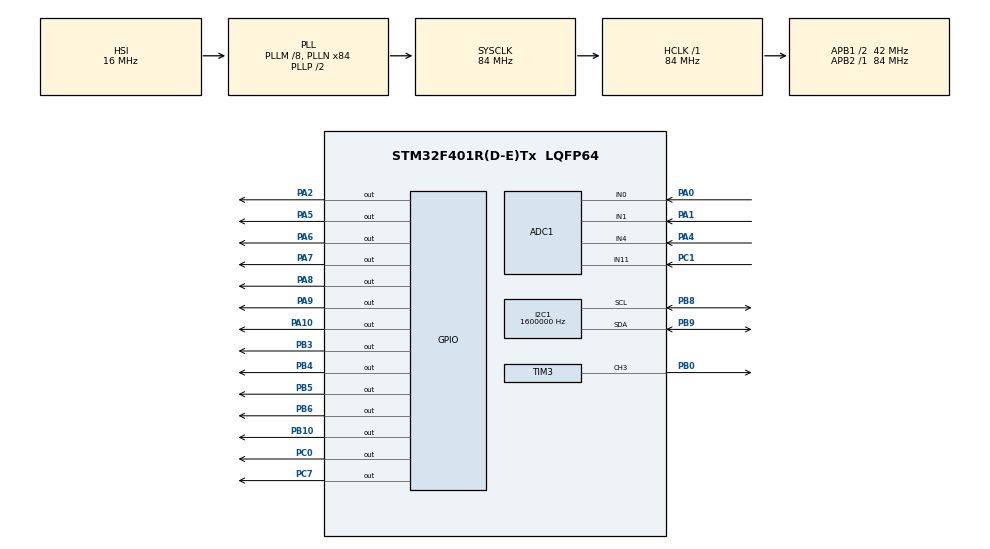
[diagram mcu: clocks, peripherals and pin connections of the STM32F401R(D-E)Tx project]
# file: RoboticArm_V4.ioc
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ADC1.Channel-1\#ChannelRegularConversion=ADC_CHANNEL_1
ADC1.Channel-2\#ChannelRegularConversion=ADC_CHANNEL_4
ADC1.Channel-4\#ChannelRegularConversion=ADC_CHANNEL_11
ADC1.ContinuousConvMode=ENABLE
ADC1.DMAContinuousRequests=ENABLE
ADC1.NbrOfConversion=4
ADC1.NbrOfConversionFlag=1
ADC1.Rank-1\#ChannelRegularConversion=2
ADC1.Rank-2\#ChannelRegularConversion=3
ADC1.Rank-4\#ChannelRegularConversion=4
ADC1.SamplingTime-0\#ChannelRegularConversion=ADC_SAMPLETIME_112CYCLES
ADC1.SamplingTime-1\#ChannelRegularConversion=ADC_SAMPLETIME_112CYCLES
ADC1.SamplingTime-2\#ChannelRegularConversion=ADC_SAMPLETIME_112CYCLES
ADC1.SamplingTime-4\#ChannelRegularConversion=ADC_SAMPLETIME_480CYCLES
ADC1.master=1
Dma.ADC1.0.Direction=DMA_PERIPH_TO_MEMORY
Dma.ADC1.0.FIFOMode=DMA_FIFOMODE_DISABLE
Dma.ADC1.0.Instance=DMA2_Stream0
Dma.ADC1.0.MemDataAlignment=DMA_MDATAALIGN_HALFWORD
Dma.ADC1.0.MemInc=DMA_MINC_ENABLE
Dma.ADC1.0.Mode=DMA_CIRCULAR
Dma.ADC1.0.PeriphDataAlignment=DMA_PDATAALIGN_HALFWORD
Dma.ADC1.0.PeriphInc=DMA_PINC_DISABLE
Dma.ADC1.0.Priority=DMA_PRIORITY_LOW
Dma.Request0=ADC1
I2C1.ClockSpeed=1600000
I2C1.DutyCycle=I2C_DUTYCYCLE_16_9
I2C1.I2C_Mode=I2C_Fast
Mcu.Family=STM32F4
Mcu.Name=STM32F401R(D-E)Tx
Mcu.Package=LQFP64
NVIC.ADC_IRQn=true\:1\:0\:true\:false\:true\:true\:true\:true
NVIC.DMA2_Stream0_IRQn=true\:0\:0\:false\:false\:true\:false\:true\:true
NVIC.PriorityGroup=NVIC_PRIORITYGROUP_4
PA0-WKUP.Signal=ADCx_IN0
PA1.Signal=ADCx_IN1
PA10.Signal=GPIO_Output
PA13.Mode=Serial_Wire
PA13.Signal=SYS_JTMS-SWDIO
PA14.Mode=Serial_Wire
PA14.Signal=SYS_JTCK-SWCLK
PA2.Signal=GPIO_Output
PA4.Signal=ADCx_IN4
PA5.Signal=GPIO_Output
PA6.Signal=GPIO_Output
PA7.Signal=GPIO_Output
PA8.Signal=GPIO_Output
PA9.Signal=GPIO_Output
PB0.Signal=S_TIM3_CH3
PB10.Signal=GPIO_Output
PB3.Signal=GPIO_Output
PB4.Signal=GPIO_Output
PB5.Signal=GPIO_Output
PB6.Signal=GPIO_Output
PB8.Mode=I2C
PB8.Signal=I2C1_SCL
PB9.Mode=I2C
PB9.Signal=I2C1_SDA
PC0.GPIO_ModeDefaultOutputPP=GPIO_MODE_OUTPUT_OD
PC0.GPIO_PuPd=GPIO_NOPULL
PC0.Signal=GPIO_Output
PC1.Signal=ADCx_IN11
PC7.Signal=GPIO_Output
ProjectManager.HeapSize=0x200
ProjectManager.StackSize=0x400
ProjectManager.TargetToolchain=STM32CubeIDE
RCC.48MHZClocksFreq_Value=42000000
RCC.AHBFreq_Value=84000000
RCC.APB1CLKDivider=RCC_HCLK_DIV2
RCC.APB1Freq_Value=42000000
RCC.APB1TimFreq_Value=84000000
RCC.APB2Freq_Value=84000000
RCC.APB2TimFreq_Value=84000000
RCC.CortexFreq_Value=84000000
RCC.HCLKFreq_Value=84000000
RCC.HSE_VALUE=25000000
RCC.HSI_VALUE=16000000
RCC.LSE_VALUE=32768
RCC.PLLM=8
RCC.PLLN=84
RCC.SYSCLKFreq_VALUE=84000000
RCC.SYSCLKSource=RCC_SYSCLKSOURCE_PLLCLK
RCC.VCOOutputFreq_Value=168000000
SH.ADCx_IN0.0=ADC1_IN0,IN0
SH.ADCx_IN1.0=ADC1_IN1,IN1
SH.ADCx_IN11.0=ADC1_IN11,IN11
SH.ADCx_IN4.0=ADC1_IN4,IN4
SH.S_TIM3_CH3.0=TIM3_CH3,PWM Generation3 CH3
TIM1.Period=4294967295
TIM1.Prescaler=83
TIM2.Prescaler=83
TIM3.AutoReloadPreload=TIM_AUTORELOAD_PRELOAD_ENABLE
TIM3.Channel-PWM\ Generation3\ CH3=TIM_CHANNEL_3
TIM3.Period=4000000 / 500 -1
TIM3.Prescaler=21-1
TIM3.Pulse-PWM\ Generation3\ CH3=4000000 / 500 / 2 -1
VP_TIM1_VS_ClockSourceINT.Mode=Internal
VP_TIM2_VS_ClockSourceINT.Mode=Internal
VP_TIM3_VS_ClockSourceINT.Mode=Internal
board=custom

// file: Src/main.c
/* USER CODE BEGIN Header */
/**
  ******************************************************************************
  * @file           : main.c
  * @brief          : Main program body
  ******************************************************************************
  * @attention
  *
  * Copyright (c) 2023 STMicroelectronics.
  * All rights reserved.
  *
  * This software is licensed under terms that can be found in the LICENSE file
  * in the root directory of this software component.
  * If no LICENSE file comes with this software, it is provided AS-IS.
  *
  ******************************************************************************
  */
/* USER CODE END Header */
#include "main.h"

ADC_HandleTypeDef hadc1;
DMA_HandleTypeDef hdma_adc1;

I2C_HandleTypeDef hi2c1;

TIM_HandleTypeDef htim1;
TIM_HandleTypeDef htim2;
TIM_HandleTypeDef htim3;

/* USER CODE BEGIN PV */
double joystickX = 0;
double joystickY = 0;
int power_state = 0;
uint8_t joystickBtn = 0;
uint16_t rawValues[4];
/* USER CODE END PV */

void SystemClock_Config(void);
static void MX_GPIO_Init(void);
static void MX_DMA_Init(void);
static void MX_TIM1_Init(void);
static void MX_I2C1_Init(void);
static void MX_ADC1_Init(void);
static void MX_TIM3_Init(void);
static void MX_TIM2_Init(void);

/* USER CODE BEGIN 0 */

#include "utils.h"
#include "beeper.h"
#include "stepper.h"

#include "actual_main.h"

#define abs(x) (x > 0 ? x : -x)

uint8_t convCompleted = 0;

void HAL_ADC_ConvCpltCallback(ADC_HandleTypeDef *hadc)
{
    convCompleted = 1;
}

/* USER CODE END 0 */

int main(void)
{

  /* MCU Configuration--------------------------------------------------------*/

  /* Reset of all peripherals, Initializes the Flash interface and the Systick. */
  HAL_Init();

  /* Configure the system clock */
  SystemClock_Config();

  /* Initialize all configured peripherals */
  MX_GPIO_Init();
  MX_DMA_Init();
  MX_TIM1_Init();
  MX_I2C1_Init();
  MX_ADC1_Init();
  MX_TIM3_Init();
  MX_TIM2_Init();
  /* USER CODE BEGIN 2 */
//    HAL_ADCEx(&hadc1, ADC_SINGLE_ENDED);

    HAL_ADC_Start_DMA(&hadc1, (uint32_t *) rawValues, 4);
  /* USER CODE END 2 */

  /* Infinite loop */
  /* USER CODE BEGIN WHILE */

    HAL_TIM_Base_Start(&htim2);
    beeperInit(&htim3);
    onSetup();
    long lastTick = 0;
    long lastPowerCheckTick = 0;

    while (1) {
    /* USER CODE END WHILE */

    /* USER CODE BEGIN 3 */

        long now = (long) HAL_GetTick();
        int dt = (int) (now - lastTick);
        lastTick = now;

        tickClock();
        if (convCompleted) {
            for (int i = 0; i < hadc1.Init.NbrOfConversion; ++i) {
                long current_power_state = rawValues[3] > 3700;
                if (!current_power_state) {
                    power_state = 0;
                    lastPowerCheckTick = now;
                }

                if (now - lastPowerCheckTick > 500) {
                    if (current_power_state != power_state) {
                        power_state = current_power_state;
                        lastPowerCheckTick = now;
                    }
                }

                joystickX = (double) (rawValues[1] - 2048) / -2048.0;
                joystickY = (double) (rawValues[2] - 2048) / -2048.0;
                joystickBtn = rawValues[0] < 512;
            }

            int xSign = joystickX > 0 ? 1 : -1;
            int ySign = joystickY > 0 ? 1 : -1;
            joystickX = abs(joystickX) < 0.02 ? 0 : (abs(joystickX) - 0.02) / 0.98;
            joystickY = abs(joystickY) < 0.02 ? 0 : (abs(joystickY) - 0.02) / 0.98;

            joystickX = joystickX * joystickX * xSign;
            joystickY = joystickY * joystickY * ySign;

            convCompleted = 0;
        }

        beeperSchedulerTick(dt);

        onUpdate(now, dt);
    }
  /* USER CODE END 3 */
}

void SystemClock_Config(void)
{
  RCC_OscInitTypeDef RCC_OscInitStruct = {0};
  RCC_ClkInitTypeDef RCC_ClkInitStruct = {0};

  /** Configure the main internal regulator output voltage
  */
  __HAL_RCC_PWR_CLK_ENABLE();
  __HAL_PWR_VOLTAGESCALING_CONFIG(PWR_REGULATOR_VOLTAGE_SCALE2);

  /** Initializes the RCC Oscillators according to the specified parameters
  * in the RCC_OscInitTypeDef structure.
  */
  RCC_OscInitStruct.OscillatorType = RCC_OSCILLATORTYPE_HSI;
  RCC_OscInitStruct.HSIState = RCC_HSI_ON;
  RCC_OscInitStruct.HSICalibrationValue = RCC_HSICALIBRATION_DEFAULT;
  RCC_OscInitStruct.PLL.PLLState = RCC_PLL_ON;
  RCC_OscInitStruct.PLL.PLLSource = RCC_PLLSOURCE_HSI;
  RCC_OscInitStruct.PLL.PLLM = 8;
  RCC_OscInitStruct.PLL.PLLN = 84;
  RCC_OscInitStruct.PLL.PLLP = RCC_PLLP_DIV2;
  RCC_OscInitStruct.PLL.PLLQ = 4;
  if (HAL_RCC_OscConfig(&RCC_OscInitStruct) != HAL_OK)
  {
    Error_Handler();
  }

  /** Initializes the CPU, AHB and APB buses clocks
  */
  RCC_ClkInitStruct.ClockType = RCC_CLOCKTYPE_HCLK|RCC_CLOCKTYPE_SYSCLK
                              |RCC_CLOCKTYPE_PCLK1|RCC_CLOCKTYPE_PCLK2;
  RCC_ClkInitStruct.SYSCLKSource = RCC_SYSCLKSOURCE_PLLCLK;
  RCC_ClkInitStruct.AHBCLKDivider = RCC_SYSCLK_DIV1;
  RCC_ClkInitStruct.APB1CLKDivider = RCC_HCLK_DIV2;
  RCC_ClkInitStruct.APB2CLKDivider = RCC_HCLK_DIV1;

  if (HAL_RCC_ClockConfig(&RCC_ClkInitStruct, FLASH_LATENCY_2) != HAL_OK)
  {
    Error_Handler();
  }
}

static void MX_ADC1_Init(void)
{

  ADC_ChannelConfTypeDef sConfig = {0};

  /** Configure the global features of the ADC (Clock, Resolution, Data Alignment and number of conversion)
  */
  hadc1.Instance = ADC1;
  hadc1.Init.ClockPrescaler = ADC_CLOCK_SYNC_PCLK_DIV4;
  hadc1.Init.Resolution = ADC_RESOLUTION_12B;
  hadc1.Init.ScanConvMode = ENABLE;
  hadc1.Init.ContinuousConvMode = ENABLE;
  hadc1.Init.DiscontinuousConvMode = DISABLE;
  hadc1.Init.ExternalTrigConvEdge = ADC_EXTERNALTRIGCONVEDGE_NONE;
  hadc1.Init.ExternalTrigConv = ADC_SOFTWARE_START;
  hadc1.Init.DataAlign = ADC_DATAALIGN_RIGHT;
  hadc1.Init.NbrOfConversion = 4;
  hadc1.Init.DMAContinuousRequests = ENABLE;
  hadc1.Init.EOCSelection = ADC_EOC_SINGLE_CONV;
  if (HAL_ADC_Init(&hadc1) != HAL_OK)
  {
    Error_Handler();
  }

  /** Configure for the selected ADC regular channel its corresponding rank in the sequencer and its sample time.
  */
  sConfig.Channel = ADC_CHANNEL_1;
  sConfig.Rank = 2;
  sConfig.SamplingTime = ADC_SAMPLETIME_112CYCLES;
  if (HAL_ADC_ConfigChannel(&hadc1, &sConfig) != HAL_OK)
  {
    Error_Handler();
  }

  /** Configure for the selected ADC regular channel its corresponding rank in the sequencer and its sample time.
  */
  sConfig.Channel = ADC_CHANNEL_4;
  sConfig.Rank = 3;
  if (HAL_ADC_ConfigChannel(&hadc1, &sConfig) != HAL_OK)
  {
    Error_Handler();
  }

  /** Configure for the selected ADC regular channel its corresponding rank in the sequencer and its sample time.
  */
  sConfig.Channel = ADC_CHANNEL_0;
  sConfig.Rank = 1;
  if (HAL_ADC_ConfigChannel(&hadc1, &sConfig) != HAL_OK)
  {
    Error_Handler();
  }

  /** Configure for the selected ADC regular channel its corresponding rank in the sequencer and its sample time.
  */
  sConfig.Channel = ADC_CHANNEL_11;
  sConfig.Rank = 4;
  sConfig.SamplingTime = ADC_SAMPLETIME_480CYCLES;
  if (HAL_ADC_ConfigChannel(&hadc1, &sConfig) != HAL_OK)
  {
    Error_Handler();
  }

}

static void MX_I2C1_Init(void)
{

  hi2c1.Instance = I2C1;
  hi2c1.Init.ClockSpeed = 1600000;
  hi2c1.Init.DutyCycle = I2C_DUTYCYCLE_16_9;
  hi2c1.Init.OwnAddress1 = 0;
  hi2c1.Init.AddressingMode = I2C_ADDRESSINGMODE_7BIT;
  hi2c1.Init.DualAddressMode = I2C_DUALADDRESS_DISABLE;
  hi2c1.Init.OwnAddress2 = 0;
  hi2c1.Init.GeneralCallMode = I2C_GENERALCALL_DISABLE;
  hi2c1.Init.NoStretchMode = I2C_NOSTRETCH_DISABLE;
  if (HAL_I2C_Init(&hi2c1) != HAL_OK)
  {
    Error_Handler();
  }

}

static void MX_TIM1_Init(void)
{

  TIM_ClockConfigTypeDef sClockSourceConfig = {0};
  TIM_MasterConfigTypeDef sMasterConfig = {0};

  htim1.Instance = TIM1;
  htim1.Init.Prescaler = 83;
  htim1.Init.CounterMode = TIM_COUNTERMODE_UP;
  htim1.Init.Period = 4294967295;
  htim1.Init.ClockDivision = TIM_CLOCKDIVISION_DIV1;
  htim1.Init.RepetitionCounter = 0;
  htim1.Init.AutoReloadPreload = TIM_AUTORELOAD_PRELOAD_DISABLE;
  if (HAL_TIM_Base_Init(&htim1) != HAL_OK)
  {
    Error_Handler();
  }
  sClockSourceConfig.ClockSource = TIM_CLOCKSOURCE_INTERNAL;
  if (HAL_TIM_ConfigClockSource(&htim1, &sClockSourceConfig) != HAL_OK)
  {
    Error_Handler();
  }
  sMasterConfig.MasterOutputTrigger = TIM_TRGO_RESET;
  sMasterConfig.MasterSlaveMode = TIM_MASTERSLAVEMODE_DISABLE;
  if (HAL_TIMEx_MasterConfigSynchronization(&htim1, &sMasterConfig) != HAL_OK)
  {
    Error_Handler();
  }

}

static void MX_TIM2_Init(void)
{

  TIM_ClockConfigTypeDef sClockSourceConfig = {0};
  TIM_MasterConfigTypeDef sMasterConfig = {0};

  htim2.Instance = TIM2;
  htim2.Init.Prescaler = 83;
  htim2.Init.CounterMode = TIM_COUNTERMODE_UP;
  htim2.Init.Period = 4294967295;
  htim2.Init.ClockDivision = TIM_CLOCKDIVISION_DIV1;
  htim2.Init.AutoReloadPreload = TIM_AUTORELOAD_PRELOAD_DISABLE;
  if (HAL_TIM_Base_Init(&htim2) != HAL_OK)
  {
    Error_Handler();
  }
  sClockSourceConfig.ClockSource = TIM_CLOCKSOURCE_INTERNAL;
  if (HAL_TIM_ConfigClockSource(&htim2, &sClockSourceConfig) != HAL_OK)
  {
    Error_Handler();
  }
  sMasterConfig.MasterOutputTrigger = TIM_TRGO_RESET;
  sMasterConfig.MasterSlaveMode = TIM_MASTERSLAVEMODE_DISABLE;
  if (HAL_TIMEx_MasterConfigSynchronization(&htim2, &sMasterConfig) != HAL_OK)
  {
    Error_Handler();
  }

}

static void MX_TIM3_Init(void)
{

  TIM_ClockConfigTypeDef sClockSourceConfig = {0};
  TIM_MasterConfigTypeDef sMasterConfig = {0};
  TIM_OC_InitTypeDef sConfigOC = {0};

  htim3.Instance = TIM3;
  htim3.Init.Prescaler = 21-1;
  htim3.Init.CounterMode = TIM_COUNTERMODE_UP;
  htim3.Init.Period = 4000000 / 500 -1;
  htim3.Init.ClockDivision = TIM_CLOCKDIVISION_DIV1;
  htim3.Init.AutoReloadPreload = TIM_AUTORELOAD_PRELOAD_ENABLE;
  if (HAL_TIM_Base_Init(&htim3) != HAL_OK)
  {
    Error_Handler();
  }
  sClockSourceConfig.ClockSource = TIM_CLOCKSOURCE_INTERNAL;
  if (HAL_TIM_ConfigClockSource(&htim3, &sClockSourceConfig) != HAL_OK)
  {
    Error_Handler();
  }
  if (HAL_TIM_PWM_Init(&htim3) != HAL_OK)
  {
    Error_Handler();
  }
  sMasterConfig.MasterOutputTrigger = TIM_TRGO_RESET;
  sMasterConfig.MasterSlaveMode = TIM_MASTERSLAVEMODE_DISABLE;
  if (HAL_TIMEx_MasterConfigSynchronization(&htim3, &sMasterConfig) != HAL_OK)
  {
    Error_Handler();
  }
  sConfigOC.OCMode = TIM_OCMODE_PWM1;
  sConfigOC.Pulse = 4000000 / 500 / 2 -1;
  sConfigOC.OCPolarity = TIM_OCPOLARITY_HIGH;
  sConfigOC.OCFastMode = TIM_OCFAST_DISABLE;
  if (HAL_TIM_PWM_ConfigChannel(&htim3, &sConfigOC, TIM_CHANNEL_3) != HAL_OK)
  {
    Error_Handler();
  }
  HAL_TIM_MspPostInit(&htim3);

}

static void MX_DMA_Init(void)
{

  /* DMA controller clock enable */
  __HAL_RCC_DMA2_CLK_ENABLE();

  /* DMA interrupt init */
  /* DMA2_Stream0_IRQn interrupt configuration */
  HAL_NVIC_SetPriority(DMA2_Stream0_IRQn, 0, 0);
  HAL_NVIC_EnableIRQ(DMA2_Stream0_IRQn);

}

static void MX_GPIO_Init(void)
{
  GPIO_InitTypeDef GPIO_InitStruct = {0};

  /* GPIO Ports Clock Enable */
  __HAL_RCC_GPIOC_CLK_ENABLE();
  __HAL_RCC_GPIOA_CLK_ENABLE();
  __HAL_RCC_GPIOB_CLK_ENABLE();

  /*Configure GPIO pin Output Level */
  HAL_GPIO_WritePin(GPIOC, GPIO_PIN_0|GPIO_PIN_7, GPIO_PIN_RESET);

  /*Configure GPIO pin Output Level */
  HAL_GPIO_WritePin(GPIOA, GPIO_PIN_2|GPIO_PIN_5|GPIO_PIN_6|GPIO_PIN_7
                          |GPIO_PIN_8|GPIO_PIN_9|GPIO_PIN_10, GPIO_PIN_RESET);

  /*Configure GPIO pin Output Level */
  HAL_GPIO_WritePin(GPIOB, GPIO_PIN_10|GPIO_PIN_3|GPIO_PIN_4|GPIO_PIN_5
                          |GPIO_PIN_6, GPIO_PIN_RESET);

  /*Configure GPIO pin : PC0 */
  GPIO_InitStruct.Pin = GPIO_PIN_0;
  GPIO_InitStruct.Mode = GPIO_MODE_OUTPUT_OD;
  GPIO_InitStruct.Pull = GPIO_NOPULL;
  GPIO_InitStruct.Speed = GPIO_SPEED_FREQ_LOW;
  HAL_GPIO_Init(GPIOC, &GPIO_InitStruct);

  /*Configure GPIO pins : PA2 PA5 PA6 PA7
                           PA8 PA9 PA10 */
  GPIO_InitStruct.Pin = GPIO_PIN_2|GPIO_PIN_5|GPIO_PIN_6|GPIO_PIN_7
                          |GPIO_PIN_8|GPIO_PIN_9|GPIO_PIN_10;
  GPIO_InitStruct.Mode = GPIO_MODE_OUTPUT_PP;
  GPIO_InitStruct.Pull = GPIO_NOPULL;
  GPIO_InitStruct.Speed = GPIO_SPEED_FREQ_LOW;
  HAL_GPIO_Init(GPIOA, &GPIO_InitStruct);

  /*Configure GPIO pins : PB10 PB3 PB4 PB5
                           PB6 */
  GPIO_InitStruct.Pin = GPIO_PIN_10|GPIO_PIN_3|GPIO_PIN_4|GPIO_PIN_5
                          |GPIO_PIN_6;
  GPIO_InitStruct.Mode = GPIO_MODE_OUTPUT_PP;
  GPIO_InitStruct.Pull = GPIO_NOPULL;
  GPIO_InitStruct.Speed = GPIO_SPEED_FREQ_LOW;
  HAL_GPIO_Init(GPIOB, &GPIO_InitStruct);

  /*Configure GPIO pin : PC7 */
  GPIO_InitStruct.Pin = GPIO_PIN_7;
  GPIO_InitStruct.Mode = GPIO_MODE_OUTPUT_PP;
  GPIO_InitStruct.Pull = GPIO_NOPULL;
  GPIO_InitStruct.Speed = GPIO_SPEED_FREQ_LOW;
  HAL_GPIO_Init(GPIOC, &GPIO_InitStruct);

}

void Error_Handler(void)
{
    __disable_irq();
    while (1) {
    }
}
